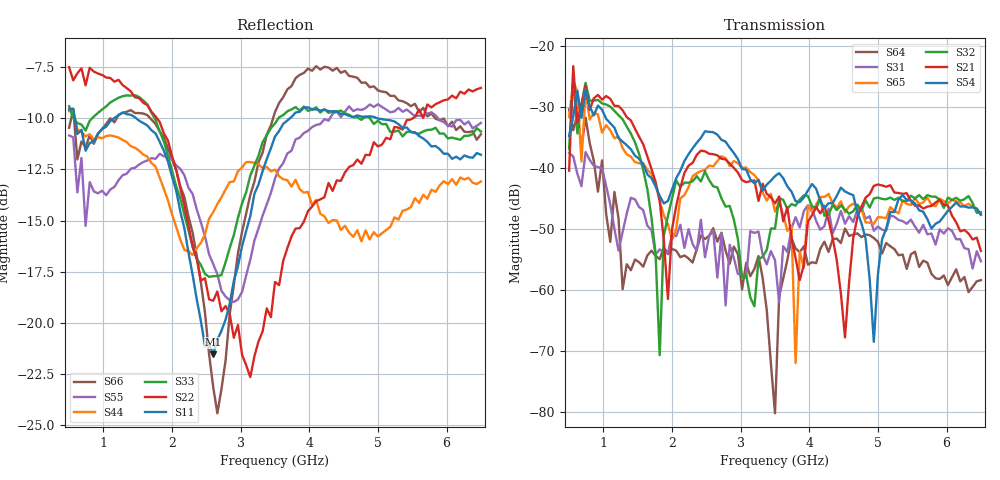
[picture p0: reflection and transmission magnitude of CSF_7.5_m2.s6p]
!Keysight Technologies,M9804A,MY58100912,A.14.10.03
!Date: Thursday, April 27, 2023 10:28:33
!Correction: S11(C  6-Port  )
!S12(C  6-Port  )
!S13(C  6-Port  )
!S14(C  6-Port  )
!S15(C  6-Port  )
!S16(C  6-Port  )
!S21(C  6-Port  )
!S22(C  6-Port  )
!S23(C  6-Port  )
!S24(C  6-Port  )
!S25(C  6-Port  )
!S26(C  6-Port  )
!S31(C  6-Port  )
!S32(C  6-Port  )
!S33(C  6-Port  )
!S34(C  6-Port  )
!S35(C  6-Port  )
!S36(C  6-Port  )
!S41(C  6-Port  )
!S42(C  6-Port  )
!S43(C  6-Port  )
!S44(C  6-Port  )
!S45(C  6-Port  )
!S46(C  6-Port  )
!S51(C  6-Port  )
!S52(C  6-Port  )
!S53(C  6-Port  )
!S54(C  6-Port  )
!S55(C  6-Port  )
!S56(C  6-Port  )
!S61(C  6-Port  )
!S62(C  6-Port  )
!S63(C  6-Port  )
!S64(C  6-Port  )
!S65(C  6-Port  )
!S66(C  6-Port  )
!S6P File: Measurement: :
# Hz S  RI  R 50
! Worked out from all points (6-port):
!   101 points, 500 MHz to 6.5 GHz, reference 50 ohm
!   strongest paths, dB at 500 MHz, 2 GHz, 3.5 GHz, 5 GHz, 6.5 GHz:
!     S54: -34.8, -43.6, -41.4, -57.5, -47.7
!     S21: -40.5, -50.1, -45.9, -42.8, -53.7
!     S32: -36.9, -45.1, -50.0, -44.9, -47.3
!     S65: -31.7, -51.8, -47.2, -48.1, -47.7
!     S31: -37.6, -50.9, -55.2, -49.7, -55.4
!     S64: -30.4, -53.3, -80.3, -52.2, -58.5
!   lowest |S11| = -21.5 dB at 2.6 GHz (marker M1), VSWR 1.18, Z = 42.5 + j1.95 ohm
!   |S11| at or under -10 dB: 582.8 MHz to 1.154 GHz (571.1 MHz wide, 65.8 % of centre); 1.476 GHz to 3.719 GHz (2.242 GHz wide, 86.3 % of centre); 4.988 GHz to end of sweep
